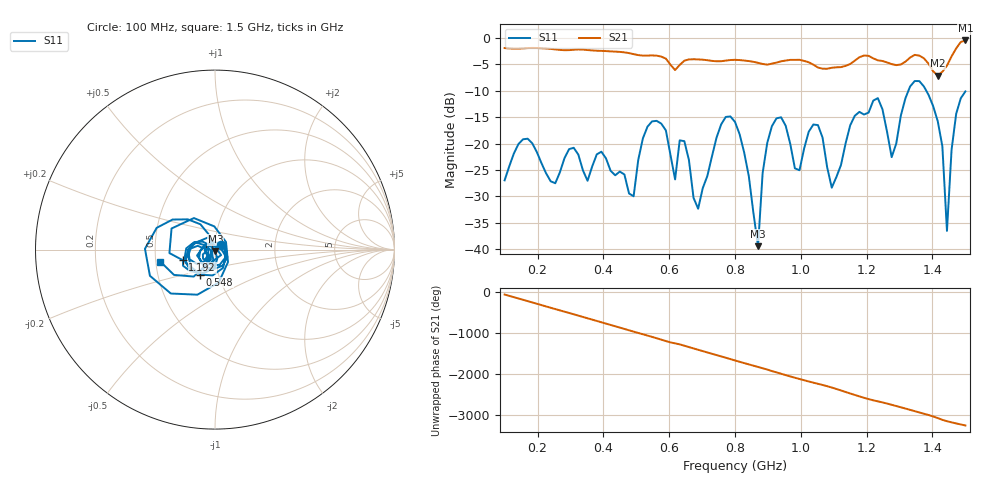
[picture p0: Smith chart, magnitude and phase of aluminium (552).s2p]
! NanoVNA-App
! Date: 2025-09-25 14:59:34
! Start: 100MHz Stop: 1,5GHz Points: 101
! S-Parameter data: F S11 S21 S12 S22
# Hz S RI R 50
!  Frequency  S11_Real  S11_Imag  S21_Real  S21_Imag  S12_Real  S12_Imag  S22_Real  S22_Imag
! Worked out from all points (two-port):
!   101 points, 100 MHz to 1.5 GHz, reference 50 ohm
!   highest |S21| = -0.48 dB at 1.5 GHz (marker M1); lowest = -7.1 dB at 1.416 GHz (marker M2)
!   |S21| within 3 dB of the highest: start of sweep to 571.6 MHz; 1.458 GHz to end of sweep (the widest 2 of 4)
!   lowest |S11| = -39.4 dB at 870 MHz (marker M3), VSWR 1.02, Z = 50.2 - j1.05 ohm
!   |S11| at or under -10 dB: start of sweep to 1.327 GHz; 1.381 GHz to end of sweep
!   S12 and S22 are empty: the file has one direction only
!   S11 on the Smith chart (normalised r, x): 100 MHz: 1.07, +0.06; 548 MHz: 0.82, -0.23; 1.192 GHz: 0.69, -0.08; 1.5 GHz: 0.53, -0.08
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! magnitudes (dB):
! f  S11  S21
! 100 MHz  -27.0  -1.9
! 170 MHz  -19.1  -1.9
! 338 MHz  -25.1  -2.2
! 492 MHz  -30.0  -3.1
! 548 MHz  -15.8  -3.3
! 576 MHz  -16.2  -3.5
! 646 MHz  -19.5  -4.3
! 688 MHz  -32.3  -4.1
! 800 MHz  -15.9  -4.2
! 870 MHz  -39.4  -4.7
! 912 MHz  -16.7  -4.9
! 996 MHz  -25.1  -4.1
! 1.038 GHz  -16.4  -5.1
! 1.094 GHz  -28.4  -5.7
! 1.192 GHz  -14.5  -3.3
! 1.234 GHz  -11.4  -4.2
! 1.276 GHz  -22.6  -5.0
! 1.346 GHz  -8.2  -3.2
! 1.416 GHz  -15.8  -7.1
! 1.444 GHz  -36.5  -5.2
! 1.472 GHz  -14.4  -2.0
! 1.5 GHz  -10.1  -0.5
